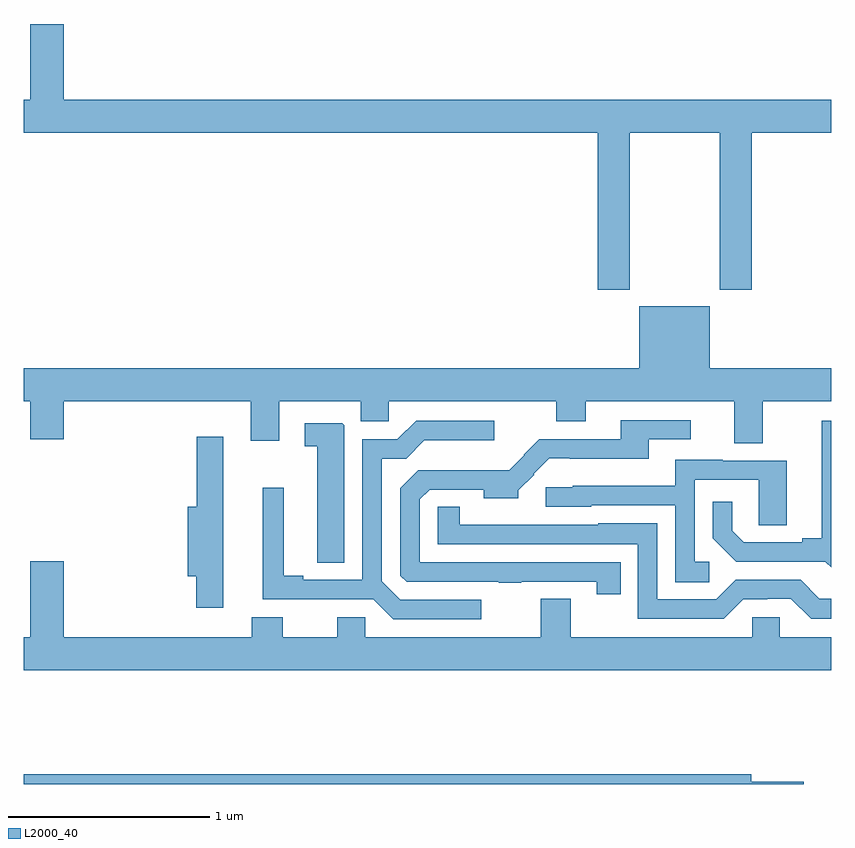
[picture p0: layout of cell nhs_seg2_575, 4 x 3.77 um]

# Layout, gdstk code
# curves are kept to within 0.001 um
import gdstk
lib = gdstk.Library(unit=1e-6, precision=1e-09)
def P(c, l, *ps):  # polygons
    for p in ps: c.add(gdstk.Polygon(p, *l))
L2000_40 = (2000, 40)

nhs_seg2_575 = lib.new_cell('nhs_seg2_575')
P(nhs_seg2_575, L2000_40, [(144.003,589.028),(144.448,589.028),(144.448,588.249),(144.608,588.249),(144.608,589.028),(145,589.028),(145,589.192),(141.196,589.192),(141.196,589.567),(141.032,589.567),(141.032,589.192),(141,589.192),(141,589.028),(143.843,589.028),(143.843,588.249),(144.003,588.249)],
  [(144.661,587.696),(145,587.696),(145,587.86),(144.4,587.86),(144.4,588.169),(144.05,588.169),(144.05,587.86),(141,587.86),(141,587.696),(141.032,587.696),(141.032,587.508),(141.196,587.508),(141.196,587.696),(142.124,587.696),(142.124,587.502),(142.264,587.502),(142.264,587.696),(142.67,587.696),(142.67,587.598),(142.809,587.598),(142.809,587.696),(143.638,587.696),(143.638,587.597),(143.785,587.597),(143.785,587.696),(144.521,587.696),(144.521,587.488),(144.661,587.488)],
  [(143.957,586.899),(142.962,586.899),(142.962,587.211),(143.01,587.259),(143.279,587.259),(143.279,587.216),(143.45,587.216),(143.45,587.256),(143.529,587.334),(143.526,587.337),(143.603,587.414),(143.704,587.414),(143.704,587.411),(144.097,587.411),(144.097,587.508),(144.304,587.508),(144.304,587.604),(143.957,587.604),(143.957,587.508),(143.553,587.508),(143.477,587.431),(143.479,587.429),(143.405,587.356),(143.071,587.356),(143.071,587.354),(142.955,587.354),(142.866,587.265),(142.866,586.833),(142.896,586.803),(143.353,586.803),(143.353,586.798),(143.465,586.798),(143.465,586.803),(143.839,586.803),(143.839,586.74),(143.957,586.74)],
  [(143.266,586.713),(142.866,586.713),(142.773,586.806),(142.773,587.413),(142.894,587.413),(142.985,587.504),(143.332,587.504),(143.332,587.601),(142.944,587.601),(142.851,587.508),(142.677,587.508),(142.677,586.812),(142.384,586.812),(142.384,586.832),(142.288,586.832),(142.288,587.269),(142.184,587.269),(142.184,586.716),(142.73,586.716),(142.829,586.617),(143.266,586.617)],
  [(145,587.601),(144.953,587.601),(144.953,587.018),(144.857,587.018),(144.857,586.998),(144.568,586.998),(144.511,587.055),(144.511,587.2),(144.414,587.2),(144.414,587.018),(144.53,586.902),(144.972,586.902),(145,586.875)],
  [(142.588,587.579),(142.578,587.589),(142.392,587.589),(142.392,587.473),(142.454,587.473),(142.454,586.897),(142.588,586.897)],
  [(141.988,587.521),(141.857,587.521),(141.857,587.173),(141.812,587.173),(141.812,586.829),(141.854,586.829),(141.854,586.674),(141.988,586.674)],
  [(144.397,586.902),(144.324,586.902),(144.324,587.307),(144.642,587.307),(144.642,587.083),(144.781,587.083),(144.781,587.403),(144.463,587.403),(144.463,587.407),(144.227,587.407),(144.227,587.278),(143.721,587.278),(143.721,587.271),(143.586,587.271),(143.586,587.175),(143.811,587.175),(143.811,587.181),(144.228,587.181),(144.228,586.801),(144.397,586.801)],
  [(145,586.719),(144.942,586.719),(144.849,586.812),(144.528,586.812),(144.432,586.716),(144.138,586.716),(144.138,587.092),(143.847,587.092),(143.847,587.085),(143.161,587.086),(143.161,587.174),(143.052,587.174),(143.052,586.989),(144.042,586.989),(144.042,586.62),(144.468,586.62),(144.564,586.716),(144.684,586.716),(144.684,586.719),(144.801,586.719),(144.901,586.619),(145,586.619)],
  [(145,586.528),(144.747,586.528),(144.747,586.626),(144.609,586.626),(144.609,586.528),(143.709,586.528),(143.709,586.718),(143.561,586.718),(143.561,586.528),(142.692,586.528),(142.692,586.626),(142.553,586.626),(142.553,586.528),(142.282,586.528),(142.282,586.627),(142.13,586.627),(142.13,586.528),(141.196,586.528),(141.196,586.903),(141.032,586.903),(141.032,586.528),(141,586.528),(141,586.364),(145,586.364)],
  [(144.865,585.812),(144.604,585.812),(144.604,585.848),(141,585.848),(141,585.8),(144.865,585.8)])

lib.write_gds('nhs_seg2_575.gds')
